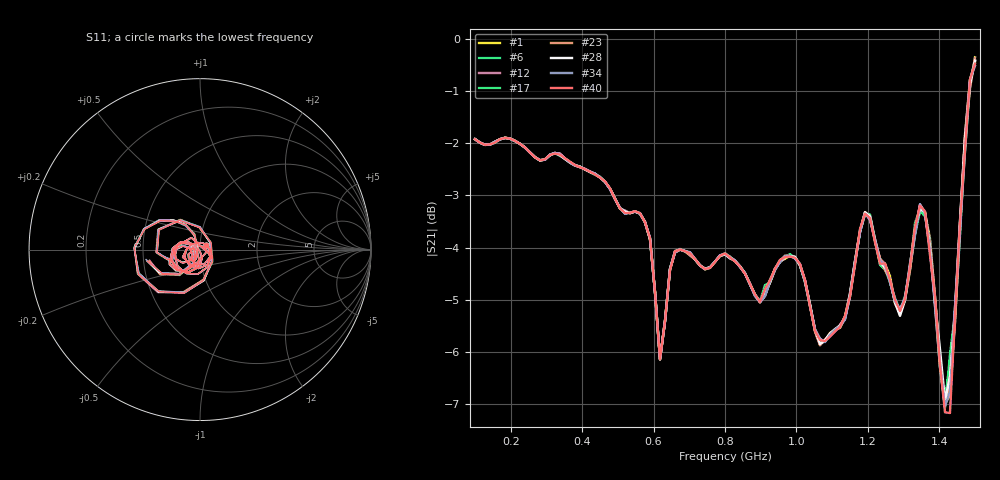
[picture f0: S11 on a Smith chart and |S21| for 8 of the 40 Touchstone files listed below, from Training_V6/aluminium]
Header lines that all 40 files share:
! NanoVNA-App
! Start: 100MHz Stop: 1,5GHz Points: 101
! S-Parameter data: F S11 S21 S12 S22
# Hz S RI R 50
!  Frequency  S11_Real  S11_Imag  S21_Real  S21_Imag  S12_Real  S12_Imag  S22_Real  S22_Imag
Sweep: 100 MHz to 1.5 GHz
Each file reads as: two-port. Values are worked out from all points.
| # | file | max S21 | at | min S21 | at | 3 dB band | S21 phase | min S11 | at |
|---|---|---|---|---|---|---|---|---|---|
| 1 | aluminium (801).s2p | -0.45 dB | 1.5 GHz | -7.0 dB | 1.416 GHz | 100 MHz-562 MHz | 127 deg at 800 MHz | -38.2 dB | 870 MHz |
| 2 | aluminium (802).s2p | -0.67 dB | 1.5 GHz | -7.2 dB | 1.416 GHz | 100 MHz-576 MHz | 127 deg at 800 MHz | -38.2 dB | 870 MHz |
| 3 | aluminium (803).s2p | -0.52 dB | 1.5 GHz | -7.2 dB | 1.416 GHz | 100 MHz-576 MHz | 127 deg at 800 MHz | -38.4 dB | 870 MHz |
| 4 | aluminium (804).s2p | -0.53 dB | 1.5 GHz | -7.1 dB | 1.416 GHz | 100 MHz-576 MHz | 127 deg at 800 MHz | -39.0 dB | 870 MHz |
| 5 | aluminium (805).s2p | -0.65 dB | 1.5 GHz | -7.1 dB | 1.416 GHz | 100 MHz-576 MHz | 127 deg at 800 MHz | -38.2 dB | 1.444 GHz |
| 6 | aluminium (806).s2p | -0.41 dB | 1.5 GHz | -6.9 dB | 1.416 GHz | 100 MHz-562 MHz | 127 deg at 800 MHz | -39.8 dB | 1.444 GHz |
| 7 | aluminium (807).s2p | -0.40 dB | 1.5 GHz | -7.0 dB | 1.416 GHz | 100 MHz-562 MHz | 127 deg at 800 MHz | -38.1 dB | 870 MHz |
| 8 | aluminium (808).s2p | -0.55 dB | 1.5 GHz | -7.2 dB | 1.416 GHz | 100 MHz-576 MHz | 127 deg at 800 MHz | -38.9 dB | 1.444 GHz |
| 9 | aluminium (809).s2p | -0.46 dB | 1.5 GHz | -6.9 dB | 1.416 GHz | 100 MHz-562 MHz | 127 deg at 800 MHz | -38.1 dB | 870 MHz |
| 10 | aluminium (810).s2p | -0.37 dB | 1.5 GHz | -7.1 dB | 1.416 GHz | 100 MHz-562 MHz | 127 deg at 800 MHz | -38.7 dB | 870 MHz |
| 11 | aluminium (811).s2p | -0.36 dB | 1.5 GHz | -7.0 dB | 1.416 GHz | 100 MHz-562 MHz | 127 deg at 800 MHz | -38.9 dB | 870 MHz |
| 12 | aluminium (812).s2p | -0.42 dB | 1.5 GHz | -7.0 dB | 1.416 GHz | 100 MHz-562 MHz | 127 deg at 800 MHz | -38.1 dB | 870 MHz |
| 13 | aluminium (813).s2p | -0.38 dB | 1.5 GHz | -7.0 dB | 1.416 GHz | 100 MHz-562 MHz | 127 deg at 800 MHz | -38.2 dB | 870 MHz |
| 14 | aluminium (814).s2p | -0.58 dB | 1.5 GHz | -7.1 dB | 1.43 GHz | 100 MHz-576 MHz | 127 deg at 800 MHz | -38.1 dB | 870 MHz |
| 15 | aluminium (815).s2p | -0.45 dB | 1.5 GHz | -7.0 dB | 1.416 GHz | 100 MHz-562 MHz | 127 deg at 800 MHz | -38.3 dB | 870 MHz |
| 16 | aluminium (816).s2p | -0.55 dB | 1.5 GHz | -7.1 dB | 1.416 GHz | 100 MHz-576 MHz | 127 deg at 800 MHz | -38.2 dB | 870 MHz |
| 17 | aluminium (817).s2p | -0.35 dB | 1.5 GHz | -7.1 dB | 1.416 GHz | 100 MHz-548 MHz | 127 deg at 800 MHz | -38.5 dB | 870 MHz |
| 18 | aluminium (818).s2p | -0.42 dB | 1.5 GHz | -7.2 dB | 1.416 GHz | 100 MHz-562 MHz | 127 deg at 800 MHz | -38.3 dB | 1.444 GHz |
| 19 | aluminium (819).s2p | -0.49 dB | 1.5 GHz | -7.2 dB | 1.43 GHz | 100 MHz-562 MHz | 127 deg at 800 MHz | -38.4 dB | 870 MHz |
| 20 | aluminium (820).s2p | -0.53 dB | 1.5 GHz | -7.0 dB | 1.416 GHz | 100 MHz-576 MHz | 127 deg at 800 MHz | -38.1 dB | 870 MHz |
| 21 | aluminium (821).s2p | -0.65 dB | 1.5 GHz | -7.1 dB | 1.416 GHz | 100 MHz-576 MHz | 127 deg at 800 MHz | -38.1 dB | 870 MHz |
| 22 | aluminium (822).s2p | -0.36 dB | 1.5 GHz | -7.0 dB | 1.416 GHz | 100 MHz-562 MHz | 127 deg at 800 MHz | -38.4 dB | 870 MHz |
| 23 | aluminium (823).s2p | -0.36 dB | 1.5 GHz | -7.0 dB | 1.416 GHz | 100 MHz-562 MHz | 127 deg at 800 MHz | -40.2 dB | 1.444 GHz |
| 24 | aluminium (824).s2p | -0.57 dB | 1.5 GHz | -7.2 dB | 1.416 GHz | 100 MHz-576 MHz | 127 deg at 800 MHz | -38.8 dB | 870 MHz |
| 25 | aluminium (825).s2p | -0.43 dB | 1.5 GHz | -7.2 dB | 1.416 GHz | 100 MHz-562 MHz | 127 deg at 800 MHz | -38.2 dB | 870 MHz |
| 26 | aluminium (826).s2p | -0.38 dB | 1.5 GHz | -7.0 dB | 1.416 GHz | 100 MHz-562 MHz | 127 deg at 800 MHz | -38.7 dB | 870 MHz |
| 27 | aluminium (827).s2p | -0.65 dB | 1.5 GHz | -7.1 dB | 1.416 GHz | 100 MHz-576 MHz | 127 deg at 800 MHz | -38.3 dB | 870 MHz |
| 28 | aluminium (828).s2p | -0.41 dB | 1.5 GHz | -6.9 dB | 1.416 GHz | 100 MHz-562 MHz | 127 deg at 800 MHz | -38.6 dB | 870 MHz |
| 29 | aluminium (829).s2p | -0.52 dB | 1.5 GHz | -7.0 dB | 1.416 GHz | 100 MHz-576 MHz | 127 deg at 800 MHz | -38.7 dB | 870 MHz |
| 30 | aluminium (830).s2p | -0.50 dB | 1.5 GHz | -7.1 dB | 1.416 GHz | 100 MHz-562 MHz | 127 deg at 800 MHz | -38.2 dB | 870 MHz |
| 31 | aluminium (831).s2p | -0.35 dB | 1.5 GHz | -7.2 dB | 1.416 GHz | 100 MHz-506 MHz | 127 deg at 800 MHz | -38.3 dB | 870 MHz |
| 32 | aluminium (832).s2p | -0.54 dB | 1.5 GHz | -7.3 dB | 1.43 GHz | 100 MHz-576 MHz | 127 deg at 800 MHz | -38.0 dB | 870 MHz |
| 33 | aluminium (833).s2p | -0.55 dB | 1.5 GHz | -7.0 dB | 1.416 GHz | 100 MHz-576 MHz | 127 deg at 800 MHz | -38.5 dB | 870 MHz |
| 34 | aluminium (834).s2p | -0.51 dB | 1.5 GHz | -7.0 dB | 1.416 GHz | 100 MHz-562 MHz | 127 deg at 800 MHz | -38.6 dB | 870 MHz |
| 35 | aluminium (835).s2p | -0.39 dB | 1.5 GHz | -7.2 dB | 1.416 GHz | 100 MHz-562 MHz | 127 deg at 800 MHz | -38.9 dB | 1.444 GHz |
| 36 | aluminium (836).s2p | -0.45 dB | 1.5 GHz | -7.0 dB | 1.416 GHz | 100 MHz-562 MHz | 127 deg at 800 MHz | -38.1 dB | 870 MHz |
| 37 | aluminium (837).s2p | -0.39 dB | 1.5 GHz | -7.3 dB | 1.416 GHz | 100 MHz-562 MHz | 127 deg at 800 MHz | -38.6 dB | 870 MHz |
| 38 | aluminium (838).s2p | -0.50 dB | 1.5 GHz | -7.2 dB | 1.416 GHz | 100 MHz-562 MHz | 127 deg at 800 MHz | -38.6 dB | 870 MHz |
| 39 | aluminium (839).s2p | -0.47 dB | 1.5 GHz | -6.9 dB | 1.416 GHz | 100 MHz-562 MHz | 127 deg at 800 MHz | -38.9 dB | 870 MHz |
| 40 | aluminium (840).s2p | -0.47 dB | 1.5 GHz | -7.2 dB | 1.43 GHz | 100 MHz-562 MHz | 127 deg at 800 MHz | -38.8 dB | 870 MHz |
